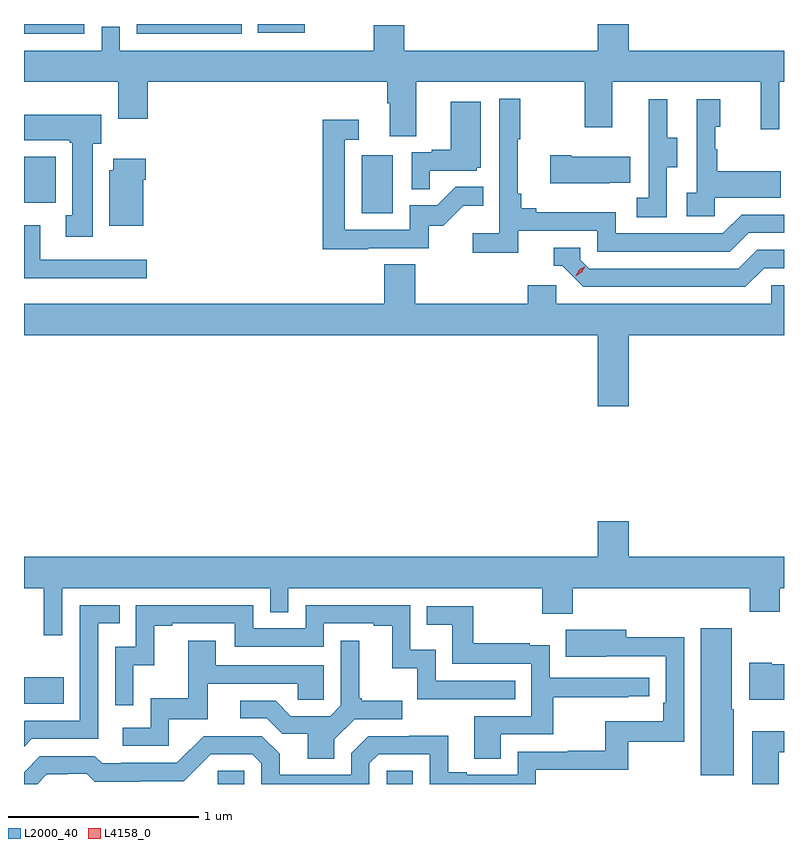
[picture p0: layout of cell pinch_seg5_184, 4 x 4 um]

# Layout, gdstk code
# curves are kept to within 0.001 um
import gdstk
lib = gdstk.Library(unit=1e-6, precision=1e-09)
def R(c, l, rs):  # rectangles x0, y0, x1, y1
    for r in rs: c.add(gdstk.rectangle(r[:2], r[2:], *l))
def P(c, l, *ps):  # polygons
    for p in ps: c.add(gdstk.Polygon(p, *l))
L2000_40 = (2000, 40)
L4158_0 = (4158, 0)

pinch_seg5_184 = lib.new_cell('pinch_seg5_184')
R(pinch_seg5_184, L2000_40, [(1134.037,890.361,1134.174,890.432), (1134.924,890.361,1135.063,890.432), (1133.016,890.783,1133.225,890.923), (1134.794,893.364,1134.958,893.671), (1133.016,893.42,1133.182,893.662), (1133.016,894.309,1133.334,894.361), (1133.61,894.309,1134.162,894.361), (1134.247,894.315,1134.493,894.361)])
P(pinch_seg5_184, L2000_40, [(1135.081,894.056),(1135.966,894.056),(1135.966,893.817),(1136.113,893.817),(1136.113,894.056),(1136.894,894.056),(1136.894,893.808),(1136.991,893.808),(1136.991,894.056),(1137.016,894.056),(1137.016,894.22),(1136.2,894.22),(1136.2,894.361),(1136.036,894.361),(1136.036,894.22),(1135.016,894.22),(1135.016,894.355),(1134.856,894.355),(1134.856,894.22),(1133.52,894.22),(1133.52,894.347),(1133.424,894.347),(1133.424,894.22),(1133.016,894.22),(1133.016,894.056),(1133.513,894.056),(1133.513,893.862),(1133.666,893.862),(1133.666,894.056),(1134.929,894.056),(1134.929,893.944),(1134.941,893.944),(1134.941,893.77),(1135.081,893.77)],
  [(1135.616,893.274),(1136.034,893.274),(1136.034,893.163),(1136.731,893.163),(1136.83,893.262),(1137.016,893.262),(1137.016,893.358),(1136.793,893.358),(1136.694,893.259),(1136.13,893.259),(1136.13,893.371),(1135.711,893.371),(1135.711,893.39),(1135.634,893.39),(1135.634,893.467),(1135.615,893.467),(1135.615,893.755),(1135.627,893.755),(1135.627,893.968),(1135.518,893.968),(1135.518,893.26),(1135.377,893.26),(1135.377,893.158),(1135.616,893.158)],
  [(1136.652,893.447),(1136.999,893.447),(1136.999,893.587),(1136.665,893.587),(1136.665,893.702),(1136.655,893.702),(1136.655,893.82),(1136.68,893.82),(1136.68,893.965),(1136.556,893.965),(1136.556,893.474),(1136.505,893.474),(1136.505,893.349),(1136.652,893.349)],
  [(1136.4,893.608),(1136.455,893.608),(1136.455,893.763),(1136.401,893.763),(1136.401,893.965),(1136.303,893.965),(1136.303,893.751),(1136.304,893.751),(1136.304,893.447),(1136.241,893.447),(1136.241,893.344),(1136.4,893.344)],
  [(1135.151,893.589),(1135.398,893.589),(1135.398,893.604),(1135.42,893.604),(1135.42,893.953),(1135.262,893.953),(1135.262,893.698),(1135.163,893.698),(1135.163,893.685),(1135.056,893.685),(1135.056,893.491),(1135.151,893.491)],
  [(1133.377,893.73),(1133.422,893.73),(1133.422,893.884),(1133.016,893.884),(1133.016,893.75),(1133.257,893.75),(1133.257,893.737),(1133.27,893.737),(1133.27,893.354),(1133.237,893.354),(1133.237,893.241),(1133.377,893.241)],
  [(1134.827,893.181),(1135.146,893.181),(1135.146,893.298),(1135.222,893.298),(1135.329,893.405),(1135.433,893.405),(1135.433,893.504),(1135.289,893.504),(1135.191,893.406),(1135.047,893.406),(1135.047,893.277),(1134.705,893.277),(1134.705,893.751),(1134.778,893.751),(1134.778,893.857),(1134.589,893.857),(1134.589,893.176),(1134.827,893.176)],
  [(1136.099,893.525),(1136.207,893.525),(1136.207,893.662),(1135.897,893.662),(1135.897,893.67),(1135.785,893.67),(1135.785,893.522),(1136.099,893.522)],
  [(1133.644,893.54),(1133.657,893.54),(1133.657,893.653),(1133.486,893.653),(1133.486,893.592),(1133.465,893.592),(1133.465,893.3),(1133.644,893.3)],
  [(1133.662,893.121),(1133.101,893.121),(1133.101,893.302),(1133.016,893.302),(1133.016,893.024),(1133.662,893.024)],
  [(1136.911,893.076),(1137.016,893.076),(1137.016,893.172),(1136.874,893.172),(1136.775,893.073),(1135.992,893.073),(1135.944,893.121),(1135.944,893.184),(1135.805,893.184),(1135.805,893.088),(1135.848,893.088),(1135.959,892.977),(1136.812,892.977)],
  [(1136.2,892.724),(1137.016,892.724),(1137.016,892.986),(1136.949,892.986),(1136.949,892.888),(1135.818,892.888),(1135.818,892.986),(1135.667,892.986),(1135.667,892.888),(1135.076,892.888),(1135.076,893.096),(1134.911,893.096),(1134.911,892.888),(1133.016,892.888),(1133.016,892.724),(1136.036,892.724),(1136.036,892.35),(1136.2,892.35)],
  [(1133.217,891.392),(1134.312,891.392),(1134.312,891.265),(1134.408,891.265),(1134.408,891.392),(1135.744,891.392),(1135.744,891.257),(1135.904,891.257),(1135.904,891.392),(1136.837,891.392),(1136.837,891.268),(1136.993,891.268),(1136.993,891.392),(1137.016,891.392),(1137.016,891.556),(1136.2,891.556),(1136.2,891.745),(1136.036,891.745),(1136.036,891.556),(1133.016,891.556),(1133.016,891.392),(1133.12,891.392),(1133.12,891.144),(1133.217,891.144)],
  [(1133.592,890.987),(1133.702,890.987),(1133.702,891.195),(1133.797,891.195),(1133.797,891.207),(1134.126,891.207),(1134.126,891.084),(1134.594,891.084),(1134.594,891.207),(1134.857,891.207),(1134.857,891.195),(1134.953,891.195),(1134.953,890.969),(1135.086,890.969),(1135.086,890.808),(1135.601,890.808),(1135.601,890.904),(1135.182,890.904),(1135.182,891.067),(1135.05,891.067),(1135.05,891.303),(1134.498,891.303),(1134.498,891.18),(1134.222,891.18),(1134.222,891.303),(1133.604,891.303),(1133.604,891.084),(1133.496,891.084),(1133.496,890.775),(1133.592,890.775)],
  [(1133.056,890.598),(1133.406,890.598),(1133.406,891.207),(1133.519,891.207),(1133.519,891.303),(1133.31,891.303),(1133.31,890.694),(1133.019,890.694),(1133.016,890.691),(1133.016,890.558)],
  [(1135.525,890.622),(1135.802,890.622),(1135.802,890.818),(1136.195,890.818),(1136.195,890.823),(1136.308,890.823),(1136.308,890.919),(1135.782,890.919),(1135.782,891.091),(1135.679,891.091),(1135.679,891.103),(1135.381,891.103),(1135.381,891.297),(1135.135,891.297),(1135.135,891.2),(1135.27,891.2),(1135.27,890.994),(1135.686,890.994),(1135.686,890.718),(1135.385,890.718),(1135.385,890.494),(1135.525,890.494)],
  [(1136.752,890.754),(1136.74,890.754),(1136.74,891.181),(1136.579,891.181),(1136.579,890.406),(1136.752,890.406)],
  [(1133.137,890.412),(1133.244,890.412),(1133.244,890.415),(1133.347,890.415),(1133.389,890.373),(1133.622,890.373),(1133.622,890.375),(1133.858,890.375),(1134,890.517),(1134.216,890.517),(1134.264,890.469),(1134.264,890.361),(1134.834,890.361),(1134.834,890.469),(1134.882,890.517),(1135.152,890.517),(1135.152,890.361),(1135.71,890.361),(1135.71,890.436),(1136.197,890.436),(1136.197,890.583),(1136.49,890.583),(1136.49,891.134),(1136.185,891.134),(1136.185,891.172),(1135.867,891.172),(1135.867,891.032),(1136.394,891.033),(1136.394,890.788),(1136.381,890.788),(1136.381,890.692),(1136.076,890.692),(1136.076,890.537),(1135.879,890.537),(1135.879,890.532),(1135.614,890.532),(1135.614,890.409),(1135.345,890.409),(1135.345,890.422),(1135.249,890.422),(1135.249,890.615),(1135.044,890.615),(1135.044,890.613),(1134.828,890.613),(1134.738,890.523),(1134.738,890.409),(1134.361,890.409),(1134.361,890.519),(1134.267,890.613),(1133.961,890.613),(1133.82,890.472),(1133.527,890.472),(1133.527,890.469),(1133.428,890.469),(1133.389,890.508),(1133.1,890.508),(1133.016,890.424),(1133.016,890.361),(1133.086,890.361)],
  [(1133.778,890.703),(1133.983,890.703),(1133.983,890.889),(1134.457,890.889),(1134.457,890.805),(1134.594,890.805),(1134.594,890.985),(1134.025,890.985),(1134.025,891.115),(1133.881,891.115),(1133.881,890.812),(1133.682,890.812),(1133.682,890.658),(1133.535,890.658),(1133.535,890.562),(1133.778,890.562)],
  [(1134.649,890.596),(1134.756,890.703),(1135.006,890.703),(1135.006,890.8),(1134.793,890.8),(1134.793,890.812),(1134.781,890.812),(1134.781,891.115),(1134.684,891.115),(1134.684,890.775),(1134.627,890.718),(1134.421,890.718),(1134.34,890.799),(1134.153,890.799),(1134.153,890.706),(1134.294,890.706),(1134.374,890.626),(1134.509,890.626),(1134.509,890.494),(1134.649,890.494)],
  [(1137.016,890.992),(1136.952,890.992),(1136.952,890.998),(1136.834,890.998),(1136.834,890.804),(1137.016,890.804)],
  [(1136.989,890.529),(1137.016,890.529),(1137.016,890.638),(1136.849,890.638),(1136.849,890.361),(1136.989,890.361)])
P(pinch_seg5_184, L4158_0, [(1135.921,893.035),(1135.921,893.035),(1135.938,893.067),(1135.969,893.086),(1135.969,893.086),(1135.969,893.086),(1135.952,893.054),(1135.922,893.035)])

lib.write_gds('pinch_seg5_184.gds')
